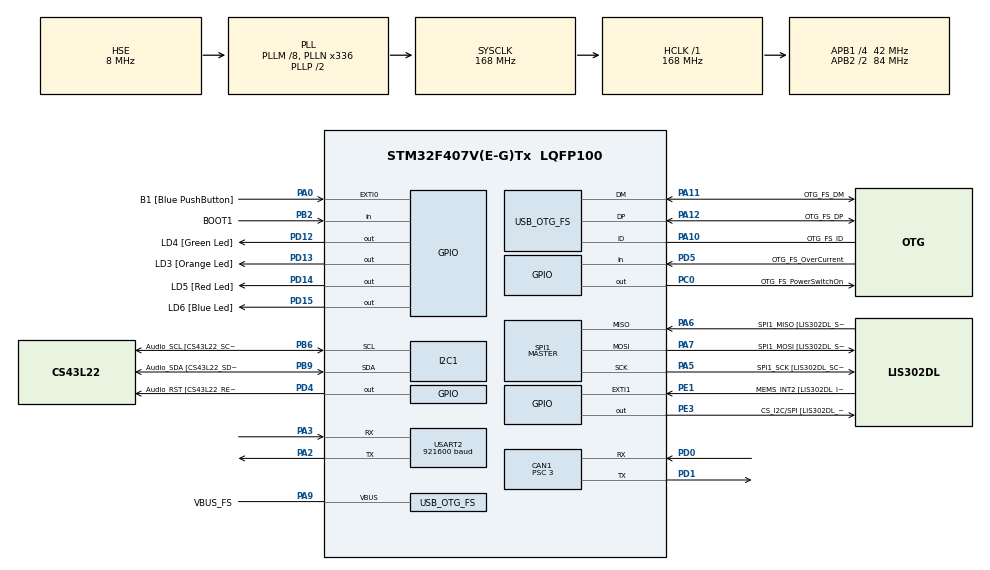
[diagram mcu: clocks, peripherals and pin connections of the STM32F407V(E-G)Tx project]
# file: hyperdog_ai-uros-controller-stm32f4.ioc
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CAN1.BS1=CAN_BS1_6TQ
CAN1.BS2=CAN_BS2_7TQ
CAN1.CalculateBaudRate=1000000
CAN1.CalculateTimeBit=1000
CAN1.CalculateTimeQuantum=71.42857142857143
CAN1.Prescaler=3
Dma.Request0=USART2_RX
Dma.Request1=USART2_TX
Dma.USART2_RX.0.Direction=DMA_PERIPH_TO_MEMORY
Dma.USART2_RX.0.FIFOMode=DMA_FIFOMODE_DISABLE
Dma.USART2_RX.0.Instance=DMA1_Stream5
Dma.USART2_RX.0.MemDataAlignment=DMA_MDATAALIGN_BYTE
Dma.USART2_RX.0.MemInc=DMA_MINC_ENABLE
Dma.USART2_RX.0.Mode=DMA_CIRCULAR
Dma.USART2_RX.0.PeriphDataAlignment=DMA_PDATAALIGN_BYTE
Dma.USART2_RX.0.PeriphInc=DMA_PINC_DISABLE
Dma.USART2_RX.0.Priority=DMA_PRIORITY_VERY_HIGH
Dma.USART2_TX.1.Direction=DMA_MEMORY_TO_PERIPH
Dma.USART2_TX.1.FIFOMode=DMA_FIFOMODE_DISABLE
Dma.USART2_TX.1.Instance=DMA1_Stream6
Dma.USART2_TX.1.MemDataAlignment=DMA_MDATAALIGN_BYTE
Dma.USART2_TX.1.MemInc=DMA_MINC_ENABLE
Dma.USART2_TX.1.Mode=DMA_NORMAL
Dma.USART2_TX.1.PeriphDataAlignment=DMA_PDATAALIGN_BYTE
Dma.USART2_TX.1.PeriphInc=DMA_PINC_DISABLE
Dma.USART2_TX.1.Priority=DMA_PRIORITY_VERY_HIGH
FREERTOS.Tasks01=defaultTask,24,3000,StartDefaultTask,Default,NULL,Static,defaultTaskBuffer,defaultTaskControlBlock
Mcu.Family=STM32F4
Mcu.Name=STM32F407V(E-G)Tx
Mcu.Package=LQFP100
NVIC.CAN1_RX0_IRQn=true\:5\:0\:false\:false\:true\:true\:true\:true\:true
NVIC.CAN1_TX_IRQn=true\:5\:0\:false\:false\:true\:true\:true\:true\:true
NVIC.DMA1_Stream5_IRQn=true\:5\:0\:false\:false\:true\:true\:false\:true\:true
NVIC.DMA1_Stream6_IRQn=true\:5\:0\:false\:false\:true\:true\:false\:true\:true
NVIC.PriorityGroup=NVIC_PRIORITYGROUP_4
NVIC.TIM1_UP_TIM10_IRQn=true\:15\:0\:false\:false\:true\:false\:false\:true\:true
NVIC.TimeBase=TIM1_UP_TIM10_IRQn
NVIC.TimeBaseIP=TIM1
NVIC.USART2_IRQn=true\:5\:0\:false\:false\:true\:true\:true\:true\:true
PA0-WKUP.GPIO_Label=B1 [Blue PushButton]
PA0-WKUP.GPIO_ModeDefaultEXTI=GPIO_MODE_EVT_RISING
PA0-WKUP.GPIO_PuPd=GPIO_NOPULL
PA0-WKUP.Signal=GPXTI0
PA10.GPIO_Label=OTG_FS_ID
PA10.GPIO_Mode=GPIO_MODE_AF_PP
PA10.GPIO_PuPd=GPIO_NOPULL
PA10.GPIO_Speed=GPIO_SPEED_FREQ_LOW
PA10.Mode=OTG/Dual_Role_Device
PA10.Signal=USB_OTG_FS_ID
PA11.GPIO_Label=OTG_FS_DM
PA11.GPIO_Mode=GPIO_MODE_AF_PP
PA11.GPIO_PuPd=GPIO_NOPULL
PA11.GPIO_Speed=GPIO_SPEED_FREQ_LOW
PA11.Mode=OTG/Dual_Role_Device
PA11.Signal=USB_OTG_FS_DM
PA12.GPIO_Label=OTG_FS_DP
PA12.GPIO_Mode=GPIO_MODE_AF_PP
PA12.GPIO_PuPd=GPIO_NOPULL
PA12.GPIO_Speed=GPIO_SPEED_FREQ_LOW
PA12.Mode=OTG/Dual_Role_Device
PA12.Signal=USB_OTG_FS_DP
PA13.GPIO_Label=SWDIO
PA13.Mode=Serial_Wire
PA13.Signal=SYS_JTMS-SWDIO
PA14.GPIO_Label=SWCLK
PA14.Mode=Serial_Wire
PA14.Signal=SYS_JTCK-SWCLK
PA2.Mode=Asynchronous
PA2.Signal=USART2_TX
PA3.Mode=Asynchronous
PA3.Signal=USART2_RX
PA4.GPIO_Label=I2S3_WS [CS43L22_LRCK]
PA4.GPIO_Mode=GPIO_MODE_AF_PP
PA4.GPIO_PuPd=GPIO_NOPULL
PA4.GPIO_Speed=GPIO_SPEED_FREQ_LOW
PA4.Signal=I2S3_WS
PA5.GPIO_Label=SPI1_SCK [LIS302DL_SCL/SPC]
PA5.GPIO_Mode=GPIO_MODE_AF_PP
PA5.GPIO_PuPd=GPIO_NOPULL
PA5.GPIO_Speed=GPIO_SPEED_FREQ_LOW
PA5.Mode=Full_Duplex_Master
PA5.Signal=SPI1_SCK
PA6.GPIO_Label=SPI1_MISO [LIS302DL_SDO]
PA6.GPIO_Mode=GPIO_MODE_AF_PP
PA6.GPIO_PuPd=GPIO_NOPULL
PA6.GPIO_Speed=GPIO_SPEED_FREQ_LOW
PA6.Mode=Full_Duplex_Master
PA6.Signal=SPI1_MISO
PA7.GPIO_Label=SPI1_MOSI [LIS302DL_SDA/SDI/SDO]
PA7.GPIO_Mode=GPIO_MODE_AF_PP
PA7.GPIO_PuPd=GPIO_NOPULL
PA7.GPIO_Speed=GPIO_SPEED_FREQ_LOW
PA7.Mode=Full_Duplex_Master
PA7.Signal=SPI1_MOSI
PA9.GPIO_Label=VBUS_FS
PA9.GPIO_Mode=GPIO_MODE_INPUT
PA9.GPIO_PuPd=GPIO_NOPULL
PA9.Mode=Activate_VBUS
PA9.Signal=USB_OTG_FS_VBUS
PB10.GPIO_Label=CLK_IN [MP45DT02_CLK]
PB10.GPIO_Mode=GPIO_MODE_AF_PP
PB10.GPIO_PuPd=GPIO_NOPULL
PB10.GPIO_Speed=GPIO_SPEED_FREQ_LOW
PB10.Signal=I2S2_CK
PB2.GPIO_Label=BOOT1
PB2.GPIO_Mode=GPIO_MODE_INPUT
PB2.GPIO_PuPd=GPIO_NOPULL
PB2.Signal=GPIO_Input
PB3.GPIO_Label=SWO
PB3.Signal=SYS_JTDO-SWO
PB6.GPIO_Label=Audio_SCL [CS43L22_SCL]
PB6.GPIO_Mode=GPIO_MODE_AF_OD
PB6.GPIO_Pu=GPIO_PULLUP
PB6.GPIO_PuPd=GPIO_NOPULL
PB6.GPIO_Speed=GPIO_SPEED_FREQ_LOW
PB6.Mode=I2C
PB6.Signal=I2C1_SCL
PB9.GPIO_Label=Audio_SDA [CS43L22_SDA]
PB9.GPIO_Mode=GPIO_MODE_AF_OD
PB9.GPIO_Pu=GPIO_PULLUP
PB9.GPIO_PuPd=GPIO_NOPULL
PB9.GPIO_Speed=GPIO_SPEED_FREQ_LOW
PB9.Mode=I2C
PB9.Signal=I2C1_SDA
PC0.GPIO_Label=OTG_FS_PowerSwitchOn
PC0.GPIO_PuPd=GPIO_NOPULL
PC0.GPIO_Speed=GPIO_SPEED_FREQ_LOW
PC0.PinState=GPIO_PIN_SET
PC0.Signal=GPIO_Output
PC10.GPIO_Label=I2S3_SCK [CS43L22_SCLK]
PC10.GPIO_Mode=GPIO_MODE_AF_PP
PC10.GPIO_PuPd=GPIO_NOPULL
PC10.GPIO_Speed=GPIO_SPEED_FREQ_LOW
PC10.Signal=I2S3_CK
PC12.GPIO_Label=I2S3_SD [CS43L22_SDIN]
PC12.GPIO_Mode=GPIO_MODE_AF_PP
PC12.GPIO_PuPd=GPIO_NOPULL
PC12.GPIO_Speed=GPIO_SPEED_FREQ_LOW
PC12.Signal=I2S3_SD
PC14-OSC32_IN.GPIO_Label=PC14-OSC32_IN
PC14-OSC32_IN.Mode=LSE-External-Oscillator
PC14-OSC32_IN.Signal=RCC_OSC32_IN
PC15-OSC32_OUT.GPIO_Label=PC15-OSC32_OUT
PC15-OSC32_OUT.Mode=LSE-External-Oscillator
PC15-OSC32_OUT.Signal=RCC_OSC32_OUT
PC3.GPIO_Label=PDM_OUT [MP45DT02_DOUT]
PC3.GPIO_Mode=GPIO_MODE_AF_PP
PC3.GPIO_PuPd=GPIO_NOPULL
PC3.GPIO_Speed=GPIO_SPEED_FREQ_LOW
PC3.Signal=I2S2_SD
PC7.GPIO_Label=I2S3_MCK [CS43L22_MCLK]
PC7.GPIO_Mode=GPIO_MODE_AF_PP
PC7.GPIO_PuPd=GPIO_NOPULL
PC7.GPIO_Speed=GPIO_SPEED_FREQ_LOW
PC7.Signal=I2S3_MCK
PD0.Mode=CAN_Activate
PD0.Signal=CAN1_RX
PD1.Mode=CAN_Activate
PD1.Signal=CAN1_TX
PD12.GPIO_Label=LD4 [Green Led]
PD12.GPIO_PuPd=GPIO_NOPULL
PD12.GPIO_Speed=GPIO_SPEED_FREQ_LOW
PD12.Signal=GPIO_Output
PD13.GPIO_Label=LD3 [Orange Led]
PD13.GPIO_PuPd=GPIO_NOPULL
PD13.GPIO_Speed=GPIO_SPEED_FREQ_LOW
PD13.Signal=GPIO_Output
PD14.GPIO_Label=LD5 [Red Led]
PD14.GPIO_PuPd=GPIO_NOPULL
PD14.GPIO_Speed=GPIO_SPEED_FREQ_LOW
PD14.Signal=GPIO_Output
PD15.GPIO_Label=LD6 [Blue Led]
PD15.GPIO_PuPd=GPIO_NOPULL
PD15.GPIO_Speed=GPIO_SPEED_FREQ_LOW
PD15.Signal=GPIO_Output
PD4.GPIO_Label=Audio_RST [CS43L22_RESET]
PD4.GPIO_PuPd=GPIO_NOPULL
PD4.GPIO_Speed=GPIO_SPEED_FREQ_LOW
PD4.Signal=GPIO_Output
PD5.GPIO_Label=OTG_FS_OverCurrent
PD5.GPIO_Mode=GPIO_MODE_INPUT
PD5.GPIO_PuPd=GPIO_NOPULL
PD5.Signal=GPIO_Input
PE1.GPIO_Label=MEMS_INT2 [LIS302DL_INT2]
PE1.GPIO_ModeDefaultEXTI=GPIO_MODE_EVT_RISING
PE1.GPIO_PuPd=GPIO_NOPULL
PE1.Signal=GPXTI1
PE3.GPIO_Label=CS_I2C/SPI [LIS302DL_CS_I2C/SPI]
PE3.GPIO_PuPd=GPIO_NOPULL
PE3.GPIO_Speed=GPIO_SPEED_FREQ_LOW
PE3.Signal=GPIO_Output
PH0-OSC_IN.GPIO_Label=PH0-OSC_IN
PH0-OSC_IN.Mode=HSE-External-Oscillator
PH0-OSC_IN.Signal=RCC_OSC_IN
PH1-OSC_OUT.GPIO_Label=PH1-OSC_OUT
PH1-OSC_OUT.Mode=HSE-External-Oscillator
PH1-OSC_OUT.Signal=RCC_OSC_OUT
ProjectManager.HeapSize=0x200
ProjectManager.StackSize=0x400
ProjectManager.TargetToolchain=Makefile
RCC.48MHZClocksFreq_Value=48000000
RCC.AHBFreq_Value=168000000
RCC.APB1CLKDivider=RCC_HCLK_DIV4
RCC.APB1Freq_Value=42000000
RCC.APB1TimFreq_Value=84000000
RCC.APB2CLKDivider=RCC_HCLK_DIV2
RCC.APB2Freq_Value=84000000
RCC.APB2TimFreq_Value=168000000
RCC.CortexFreq_Value=168000000
RCC.HCLKFreq_Value=168000000
RCC.HSE_VALUE=8000000
RCC.HSI_VALUE=16000000
RCC.PLLM=8
RCC.PLLN=336
RCC.PLLQ=7
RCC.SYSCLKFreq_VALUE=168000000
RCC.SYSCLKSource=RCC_SYSCLKSOURCE_PLLCLK
RCC.VCOOutputFreq_Value=336000000
SPI1.BaudRatePrescaler-Full_Duplex_Master=SPI_BAUDRATEPRESCALER_2
SPI1.CalculateBaudRate-Full_Duplex_Master=42.0 MBits/s
SPI1.Direction=SPI_DIRECTION_2LINES
SPI1.Mode=SPI_MODE_MASTER
SPI1.Mode-Full_Duplex_Master=SPI_MODE_MASTER
SPI1.VirtualType=VM_MASTER
USART2.BaudRate=921600
USART2.VirtualMode=VM_ASYNC
VP_FREERTOS_VS_CMSIS_V2.Mode=CMSIS_V2
VP_SYS_VS_tim1.Mode=TIM1
board=STM32F407G-DISC1

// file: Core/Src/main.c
/* USER CODE BEGIN Header */
/**
  ******************************************************************************
  * @file           : main.c
  * @brief          : Main program body
  ******************************************************************************
  * @attention
  *
  * Copyright (c) 2023 STMicroelectronics.
  * All rights reserved.
  *
  * This software is licensed under terms that can be found in the LICENSE file
  * in the root directory of this software component.
  * If no LICENSE file comes with this software, it is provided AS-IS.
  *
  ******************************************************************************
  */
/* USER CODE END Header */
#include "main.h"
#include "cmsis_os.h"
#include "can.h"
#include "dma.h"
#include "i2c.h"
#include "spi.h"
#include "usart.h"
#include "usb_otg.h"
#include "gpio.h"

void SystemClock_Config(void);
void MX_FREERTOS_Init(void);

int main(void)
{

  /* MCU Configuration--------------------------------------------------------*/

  /* Reset of all peripherals, Initializes the Flash interface and the Systick. */
  HAL_Init();

  /* Configure the system clock */
  SystemClock_Config();

  /* Initialize all configured peripherals */
  MX_GPIO_Init();
  MX_DMA_Init();
  MX_I2C1_Init();
  MX_SPI1_Init();
  MX_USART2_UART_Init();
  MX_USB_OTG_FS_USB_Init();
  MX_CAN1_Init();
  /* USER CODE BEGIN 2 */

  HAL_CAN_Start(&hcan1);
  HAL_CAN_ActivateNotification(&hcan1, CAN_IT_RX_FIFO0_MSG_PENDING);

  /* USER CODE END 2 */

  /* Init scheduler */
  osKernelInitialize();  /* Call init function for freertos objects (in freertos.c) */
  MX_FREERTOS_Init();

  /* Start scheduler */
  osKernelStart();

  /* We should never get here as control is now taken by the scheduler */
  /* Infinite loop */
  while (1)
  {

  }
}

void SystemClock_Config(void)
{
  RCC_OscInitTypeDef RCC_OscInitStruct = {0};
  RCC_ClkInitTypeDef RCC_ClkInitStruct = {0};

  /** Configure the main internal regulator output voltage
  */
  __HAL_RCC_PWR_CLK_ENABLE();
  __HAL_PWR_VOLTAGESCALING_CONFIG(PWR_REGULATOR_VOLTAGE_SCALE1);

  /** Initializes the RCC Oscillators according to the specified parameters
  * in the RCC_OscInitTypeDef structure.
  */
  RCC_OscInitStruct.OscillatorType = RCC_OSCILLATORTYPE_HSE;
  RCC_OscInitStruct.HSEState = RCC_HSE_ON;
  RCC_OscInitStruct.PLL.PLLState = RCC_PLL_ON;
  RCC_OscInitStruct.PLL.PLLSource = RCC_PLLSOURCE_HSE;
  RCC_OscInitStruct.PLL.PLLM = 8;
  RCC_OscInitStruct.PLL.PLLN = 336;
  RCC_OscInitStruct.PLL.PLLP = RCC_PLLP_DIV2;
  RCC_OscInitStruct.PLL.PLLQ = 7;
  if (HAL_RCC_OscConfig(&RCC_OscInitStruct) != HAL_OK)
  {
    Error_Handler();
  }

  /** Initializes the CPU, AHB and APB buses clocks
  */
  RCC_ClkInitStruct.ClockType = RCC_CLOCKTYPE_HCLK|RCC_CLOCKTYPE_SYSCLK
                              |RCC_CLOCKTYPE_PCLK1|RCC_CLOCKTYPE_PCLK2;
  RCC_ClkInitStruct.SYSCLKSource = RCC_SYSCLKSOURCE_PLLCLK;
  RCC_ClkInitStruct.AHBCLKDivider = RCC_SYSCLK_DIV1;
  RCC_ClkInitStruct.APB1CLKDivider = RCC_HCLK_DIV4;
  RCC_ClkInitStruct.APB2CLKDivider = RCC_HCLK_DIV2;

  if (HAL_RCC_ClockConfig(&RCC_ClkInitStruct, FLASH_LATENCY_5) != HAL_OK)
  {
    Error_Handler();
  }
}

void HAL_TIM_PeriodElapsedCallback(TIM_HandleTypeDef *htim)
{
  if (htim->Instance == TIM1) {
    HAL_IncTick();
  }
}

void Error_Handler(void)
{
  __disable_irq();
  while (1)
  {
  }
}

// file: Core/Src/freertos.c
/* USER CODE BEGIN Header */
/**
  ******************************************************************************
  * File Name          : freertos.c
  * Description        : Code for freertos applications
  ******************************************************************************
  * @attention
  *
  * Copyright (c) 2023 STMicroelectronics.
  * All rights reserved.
  *
  * This software is licensed under terms that can be found in the LICENSE file
  * in the root directory of this software component.
  * If no LICENSE file comes with this software, it is provided AS-IS.
  *
  ******************************************************************************
  */
/* USER CODE END Header */

#include "FreeRTOS.h"
#include "task.h"
#include "main.h"
#include "cmsis_os.h"

/* USER CODE BEGIN Includes */
#include "uros_tasks.h"
#include "error_indicator.h"
#include "can.h"
#include "minicheetah_motor.h"
#include "stm32f4xx_ll_usb.h"
/* USER CODE END Includes */

typedef StaticTask_t osStaticThreadDef_t;
/* USER CODE BEGIN PTD */
HAL_StatusTypeDef can_status;
// Motor_TypeDef motor[NUM_OF_MOTORS];
// uint16_t motor_error_code;
// uint8_t motor_status;
/* USER CODE END PTD */

/* Definitions for defaultTask */
osThreadId_t defaultTaskHandle;
uint32_t defaultTaskBuffer[ 3000 ];
osStaticThreadDef_t defaultTaskControlBlock;
const osThreadAttr_t defaultTask_attributes = {
  .name = "defaultTask",
  .cb_mem = &defaultTaskControlBlock,
  .cb_size = sizeof(defaultTaskControlBlock),
  .stack_mem = &defaultTaskBuffer[0],
  .stack_size = sizeof(defaultTaskBuffer),
  .priority = (osPriority_t) osPriorityHigh2,
};

/* Definitions for errorIndicatorTask */
osThreadId_t errorIndicatorTaskHandle;
const osThreadAttr_t errorIndicatorTask_attributes = {
  .name = "errorIndicatorTask",
  .stack_size = 128 * 4,
  .priority = (osPriority_t) osPriorityNormal,
};

/* Definitions for CAN */
osThreadId_t CANTaskHandle;
const osThreadAttr_t CANTask_attributes = {
  .name = "canTask",
  .stack_size = 128 * 4,
  .priority = (osPriority_t) osPriorityHigh1,
};

/* USER CODE BEGIN FunctionPrototypes */
void StartErrorIndicatorTask(void *argument);
void StartCANTask(void* argument);
/* USER CODE END FunctionPrototypes */

void StartDefaultTask(void *argument);

void MX_FREERTOS_Init(void); /* (MISRA C 2004 rule 8.1) */

void MX_FREERTOS_Init(void) {

  /* Create the thread(s) */
  /* creation of defaultTask */
  defaultTaskHandle = osThreadNew(StartDefaultTask, NULL, &defaultTask_attributes);

  /* USER CODE BEGIN RTOS_THREADS */
  errorIndicatorTaskHandle = osThreadNew(StartErrorIndicatorTask, NULL, &errorIndicatorTask_attributes);
  /* USER CODE END RTOS_THREADS */

  /* USER CODE BEGIN RTOS_EVENTS */
  CANTaskHandle = osThreadNew(StartCANTask, NULL, &CANTask_attributes);
  /* USER CODE END RTOS_EVENTS */

}

/* USER CODE BEGIN Header_StartDefaultTask */
/**
  * @brief  Function implementing the defaultTask thread: Micro-ROS.
  * @param  argument: Not used
  * @retval None
  */
void StartDefaultTask(void *argument)
{
  /* USER CODE BEGIN 5 */

  // micro-ROS configuration

  init_uros_node();
  spin_uros_node(2);

  /* USER CODE END 5 */
}
/* USER CODE END Header_StartDefaultTask */

/* USER CODE BEGIN Application */

void StartErrorIndicatorTask(void *argument)
{
  /* USER CODE BEGIN 6 */
  error_indicator();
  /* USER CODE END 6 */
}

void StartCANTask(void* argument)
{

  MOTOR_initId(FR_HIP, 1);
  MOTOR_initParams(FR_HIP, 12.5, 60, 500, 5, 18, 40);
  MOTOR_initCtrlLimits(FR_HIP, 1.2, -1.0, 3.0, 15);
  MOTOR_initCANConfig(FR_HIP, &hcan1, 0);
  // MOTOR_sendHeatbeat(FR_HIP);
  // can_rx_init();
  // can_tx_init();

  while(1){
      // send_can_test();
      // MOTOR_sendHeatbeat(FR_HIP);
      MOTOR_enable(FR_HIP);
      osDelay(10);
      // MOTOR_setZero(FR_HIP);
  }
}

/* USER CODE END Application */
